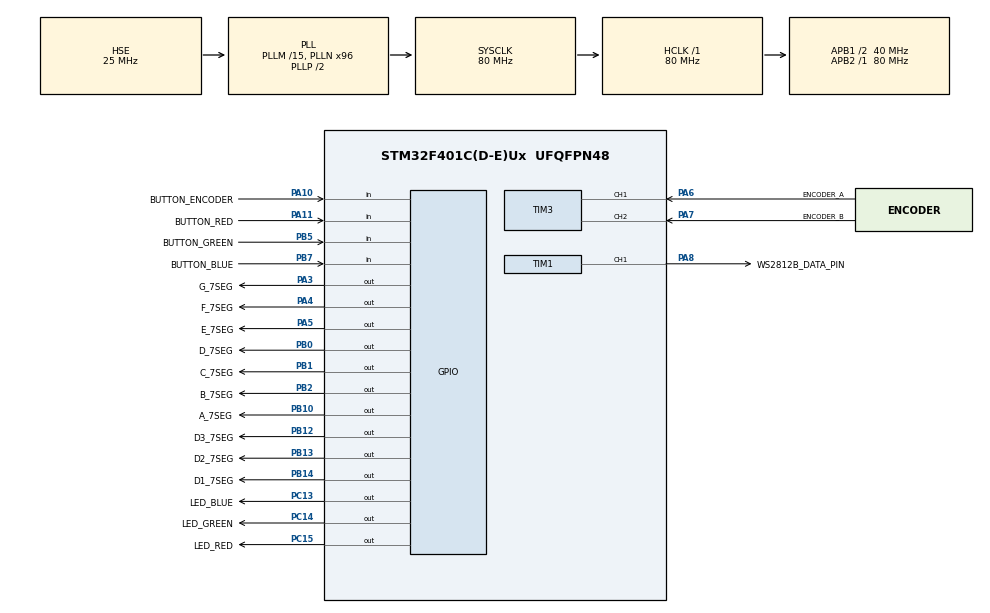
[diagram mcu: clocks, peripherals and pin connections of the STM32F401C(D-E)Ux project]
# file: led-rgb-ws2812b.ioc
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Dma.Request0=TIM1_CH1
Dma.TIM1_CH1.0.Direction=DMA_MEMORY_TO_PERIPH
Dma.TIM1_CH1.0.FIFOMode=DMA_FIFOMODE_DISABLE
Dma.TIM1_CH1.0.Instance=DMA2_Stream1
Dma.TIM1_CH1.0.MemDataAlignment=DMA_MDATAALIGN_HALFWORD
Dma.TIM1_CH1.0.MemInc=DMA_MINC_ENABLE
Dma.TIM1_CH1.0.Mode=DMA_NORMAL
Dma.TIM1_CH1.0.PeriphDataAlignment=DMA_PDATAALIGN_HALFWORD
Dma.TIM1_CH1.0.PeriphInc=DMA_PINC_DISABLE
Dma.TIM1_CH1.0.Priority=DMA_PRIORITY_VERY_HIGH
Mcu.Family=STM32F4
Mcu.Name=STM32F401C(D-E)Ux
Mcu.Package=UFQFPN48
NVIC.DMA2_Stream1_IRQn=true\:0\:0\:false\:false\:true\:false\:true
NVIC.PriorityGroup=NVIC_PRIORITYGROUP_4
PA10.GPIO_Label=BUTTON_ENCODER
PA10.GPIO_PuPd=GPIO_PULLUP
PA10.Signal=GPIO_Input
PA11.GPIO_Label=BUTTON_RED
PA11.GPIO_PuPd=GPIO_PULLUP
PA11.Signal=GPIO_Input
PA13.Mode=Serial_Wire
PA13.Signal=SYS_JTMS-SWDIO
PA14.Mode=Serial_Wire
PA14.Signal=SYS_JTCK-SWCLK
PA3.GPIO_Label=G_7SEG
PA3.GPIO_PuPd=GPIO_PULLDOWN
PA3.Signal=GPIO_Output
PA4.GPIO_Label=F_7SEG
PA4.GPIO_PuPd=GPIO_PULLDOWN
PA4.Signal=GPIO_Output
PA5.GPIO_Label=E_7SEG
PA5.GPIO_PuPd=GPIO_PULLDOWN
PA5.Signal=GPIO_Output
PA6.GPIO_Label=ENCODER_A
PA6.Signal=S_TIM3_CH1
PA7.GPIO_Label=ENCODER_B
PA7.Signal=S_TIM3_CH2
PA8.GPIO_Label=WS2812B_DATA_PIN
PA8.Signal=S_TIM1_CH1
PB0.GPIO_Label=D_7SEG
PB0.GPIO_PuPd=GPIO_PULLDOWN
PB0.Signal=GPIO_Output
PB1.GPIO_Label=C_7SEG
PB1.GPIO_PuPd=GPIO_PULLDOWN
PB1.Signal=GPIO_Output
PB10.GPIO_Label=A_7SEG
PB10.GPIO_PuPd=GPIO_PULLDOWN
PB10.Signal=GPIO_Output
PB12.GPIO_Label=D3_7SEG
PB12.GPIO_PuPd=GPIO_PULLDOWN
PB12.Signal=GPIO_Output
PB13.GPIO_Label=D2_7SEG
PB13.GPIO_PuPd=GPIO_PULLDOWN
PB13.Signal=GPIO_Output
PB14.GPIO_Label=D1_7SEG
PB14.GPIO_PuPd=GPIO_PULLDOWN
PB14.Signal=GPIO_Output
PB2.GPIO_Label=B_7SEG
PB2.GPIO_PuPd=GPIO_PULLDOWN
PB2.Signal=GPIO_Output
PB5.GPIO_Label=BUTTON_GREEN
PB5.GPIO_PuPd=GPIO_PULLUP
PB5.Signal=GPIO_Input
PB7.GPIO_Label=BUTTON_BLUE
PB7.GPIO_PuPd=GPIO_PULLUP
PB7.Signal=GPIO_Input
PC13-ANTI_TAMP.GPIO_Label=LED_BLUE
PC13-ANTI_TAMP.GPIO_PuPd=GPIO_PULLDOWN
PC13-ANTI_TAMP.Signal=GPIO_Output
PC14-OSC32_IN.GPIO_Label=LED_GREEN
PC14-OSC32_IN.GPIO_PuPd=GPIO_PULLDOWN
PC14-OSC32_IN.Signal=GPIO_Output
PC15-OSC32_OUT.GPIO_Label=LED_RED
PC15-OSC32_OUT.GPIO_PuPd=GPIO_PULLDOWN
PC15-OSC32_OUT.Signal=GPIO_Output
PH0\ -\ OSC_IN.Mode=HSE-External-Oscillator
PH0\ -\ OSC_IN.Signal=RCC_OSC_IN
PH1\ -\ OSC_OUT.Mode=HSE-External-Oscillator
PH1\ -\ OSC_OUT.Signal=RCC_OSC_OUT
ProjectManager.HeapSize=0x200
ProjectManager.StackSize=0x400
ProjectManager.TargetToolchain=MDK-ARM V5.32
RCC.48MHZClocksFreq_Value=40000000
RCC.AHBFreq_Value=80000000
RCC.APB1CLKDivider=RCC_HCLK_DIV2
RCC.APB1Freq_Value=40000000
RCC.APB1TimFreq_Value=80000000
RCC.APB2Freq_Value=80000000
RCC.APB2TimFreq_Value=80000000
RCC.CortexFreq_Value=80000000
RCC.HCLKFreq_Value=80000000
RCC.HSE_VALUE=25000000
RCC.HSI_VALUE=16000000
RCC.LSE_VALUE=32768
RCC.PLLM=15
RCC.PLLN=96
RCC.PLLSourceVirtual=RCC_PLLSOURCE_HSE
RCC.SYSCLKFreq_VALUE=80000000
RCC.SYSCLKSource=RCC_SYSCLKSOURCE_PLLCLK
RCC.VCOOutputFreq_Value=160000000
SH.S_TIM1_CH1.0=TIM1_CH1,PWM Generation1 CH1
SH.S_TIM3_CH1.0=TIM3_CH1,Encoder_Interface
SH.S_TIM3_CH2.0=TIM3_CH2,Encoder_Interface
TIM1.Channel-PWM\ Generation1\ CH1=TIM_CHANNEL_1
TIM1.Period=99
TIM3.EncoderMode=TIM_ENCODERMODE_TI1
VP_TIM1_VS_ClockSourceINT.Mode=Internal
board=custom

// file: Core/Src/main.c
/* USER CODE BEGIN Header */
/**
  ******************************************************************************
  * @file           : main.c
  * @brief          : Main program body
  ******************************************************************************
  * @attention
  *
  * Copyright (c) 2022 STMicroelectronics.
  * All rights reserved.
  *
  * This software is licensed under terms that can be found in the LICENSE file
  * in the root directory of this software component.
  * If no LICENSE file comes with this software, it is provided AS-IS.
  *
  ******************************************************************************
  */
/* USER CODE END Header */
#include "main.h"
#include "dma.h"
#include "tim.h"
#include "gpio.h"

/* USER CODE BEGIN Includes */
#include "stdbool.h"
/* USER CODE END Includes */

/* USER CODE BEGIN PV */
volatile uint16_t encoder_pulse_counter;
volatile uint16_t previous_encoder_pulse_counter;

volatile uint16_t pwmData[364];
volatile int green, red, blue;

volatile uint8_t state = 0;
volatile bool fast_flag = false;

extern volatile int16_t lcdvalue;
/* USER CODE END PV */

void SystemClock_Config(void);

/* USER CODE BEGIN 0 */
void send (uint8_t Green, uint8_t Red, uint8_t Blue)
{

	for(int i = 49; i >= 0; i--)
	{
		pwmData[i] = 0;
	}

	uint8_t j = 7;
  for(int i = 50; i <= 57; i++)
	{
		if(Green & (1 << j)) pwmData[i] = 60;
		else pwmData[i] = 30;
		j--;
	}

	j = 7;
	for(int i = 58; i <= 65; i++)
	{
		if(Red & (1 << j)) pwmData[i] = 60;
		else pwmData[i] = 30;
		j--;
	}

	j = 7;
	for(int i = 66; i <= 73; i++)
	{
		if(Blue & (1 << j)) pwmData[i] = 60;
		else pwmData[i] = 30;
		j--;
	}

	for(int i = 74; i <= 313; i++)
	{
		pwmData[i] = pwmData[i - 24];
	}

	for(int i = 314; i <= 363; i++)
	{
		pwmData[i] = 0;
	}

	HAL_TIM_PWM_Start_DMA(&htim1, TIM_CHANNEL_1, (uint32_t *)pwmData, 364);

}

/* USER CODE END 0 */

int main(void)
{

  /* MCU Configuration--------------------------------------------------------*/

  /* Reset of all peripherals, Initializes the Flash interface and the Systick. */
  HAL_Init();

  /* Configure the system clock */
  SystemClock_Config();

  /* Initialize all configured peripherals */
  MX_GPIO_Init();
  MX_DMA_Init();
  MX_TIM3_Init();
  MX_TIM1_Init();
  /* USER CODE BEGIN 2 */

	HAL_TIM_Encoder_Start(&htim3, TIM_CHANNEL_ALL);

	green = 0;
	red = 0;
	blue = 0;

  /* USER CODE END 2 */

  /* Infinite loop */
  while (1)
  {

    /* USER CODE BEGIN 3 */

			if(HAL_GPIO_ReadPin(BUTTON_ENCODER_GPIO_Port, BUTTON_ENCODER_Pin) == GPIO_PIN_RESET)
		{
			fast_flag = !fast_flag;
			HAL_Delay(250);
		}

		if(HAL_GPIO_ReadPin(BUTTON_BLUE_GPIO_Port, BUTTON_BLUE_Pin) == GPIO_PIN_RESET)
		{
			state = 1;
			TIM3->CNT = blue;
			HAL_Delay(250);
		}

		if(HAL_GPIO_ReadPin(BUTTON_GREEN_GPIO_Port, BUTTON_GREEN_Pin) == GPIO_PIN_RESET)
		{
			state = 2;
			TIM3->CNT = green;
			HAL_Delay(250);
		}

		if(HAL_GPIO_ReadPin(BUTTON_RED_GPIO_Port, BUTTON_RED_Pin) == GPIO_PIN_RESET)
		{
			state = 3;
			TIM3->CNT = red;
			HAL_Delay(250);
		}

		lcdvalue = encoder_pulse_counter;

		previous_encoder_pulse_counter = encoder_pulse_counter;
		encoder_pulse_counter = TIM3->CNT;

		if(previous_encoder_pulse_counter != encoder_pulse_counter)
		{
			if(fast_flag)
			{
				if(previous_encoder_pulse_counter > encoder_pulse_counter) encoder_pulse_counter -= 9;
				else encoder_pulse_counter += 9;

				TIM3->CNT = encoder_pulse_counter;
			}
		}

		if(encoder_pulse_counter > 255)
		{
			TIM3->CNT = 0;

			if(previous_encoder_pulse_counter == 0) TIM3->CNT = 255;
		}

		switch(state)
		{
			case 1:
			{
				blue = encoder_pulse_counter;
					HAL_GPIO_WritePin(LED_BLUE_GPIO_Port, LED_BLUE_Pin, GPIO_PIN_SET);
					HAL_GPIO_WritePin(LED_GREEN_GPIO_Port, LED_GREEN_Pin, GPIO_PIN_RESET);
					HAL_GPIO_WritePin(LED_RED_GPIO_Port, LED_RED_Pin, GPIO_PIN_RESET);
				break;
			}

			case 2:
			{
				green = encoder_pulse_counter;
					HAL_GPIO_WritePin(LED_BLUE_GPIO_Port, LED_BLUE_Pin, GPIO_PIN_RESET);
					HAL_GPIO_WritePin(LED_GREEN_GPIO_Port, LED_GREEN_Pin, GPIO_PIN_SET);
					HAL_GPIO_WritePin(LED_RED_GPIO_Port, LED_RED_Pin, GPIO_PIN_RESET);
				break;
			}

			case 3:
			{
				red = encoder_pulse_counter;
					HAL_GPIO_WritePin(LED_BLUE_GPIO_Port, LED_BLUE_Pin, GPIO_PIN_RESET);
					HAL_GPIO_WritePin(LED_GREEN_GPIO_Port, LED_GREEN_Pin, GPIO_PIN_RESET);
					HAL_GPIO_WritePin(LED_RED_GPIO_Port, LED_RED_Pin, GPIO_PIN_SET);
				break;
			}
		}

		send(green, red, blue);

		HAL_Delay(10);

  }
  /* USER CODE END 3 */
}

void SystemClock_Config(void)
{
  RCC_OscInitTypeDef RCC_OscInitStruct = {0};
  RCC_ClkInitTypeDef RCC_ClkInitStruct = {0};

  /** Configure the main internal regulator output voltage
  */
  __HAL_RCC_PWR_CLK_ENABLE();
  __HAL_PWR_VOLTAGESCALING_CONFIG(PWR_REGULATOR_VOLTAGE_SCALE2);
  /** Initializes the RCC Oscillators according to the specified parameters
  * in the RCC_OscInitTypeDef structure.
  */
  RCC_OscInitStruct.OscillatorType = RCC_OSCILLATORTYPE_HSE;
  RCC_OscInitStruct.HSEState = RCC_HSE_ON;
  RCC_OscInitStruct.PLL.PLLState = RCC_PLL_ON;
  RCC_OscInitStruct.PLL.PLLSource = RCC_PLLSOURCE_HSE;
  RCC_OscInitStruct.PLL.PLLM = 15;
  RCC_OscInitStruct.PLL.PLLN = 96;
  RCC_OscInitStruct.PLL.PLLP = RCC_PLLP_DIV2;
  RCC_OscInitStruct.PLL.PLLQ = 4;
  if (HAL_RCC_OscConfig(&RCC_OscInitStruct) != HAL_OK)
  {
    Error_Handler();
  }
  /** Initializes the CPU, AHB and APB buses clocks
  */
  RCC_ClkInitStruct.ClockType = RCC_CLOCKTYPE_HCLK|RCC_CLOCKTYPE_SYSCLK
                              |RCC_CLOCKTYPE_PCLK1|RCC_CLOCKTYPE_PCLK2;
  RCC_ClkInitStruct.SYSCLKSource = RCC_SYSCLKSOURCE_PLLCLK;
  RCC_ClkInitStruct.AHBCLKDivider = RCC_SYSCLK_DIV1;
  RCC_ClkInitStruct.APB1CLKDivider = RCC_HCLK_DIV2;
  RCC_ClkInitStruct.APB2CLKDivider = RCC_HCLK_DIV1;

  if (HAL_RCC_ClockConfig(&RCC_ClkInitStruct, FLASH_LATENCY_2) != HAL_OK)
  {
    Error_Handler();
  }
}

/* USER CODE BEGIN 4 */
void HAL_TIM_PWM_PulseFinishedCallback(TIM_HandleTypeDef *htim)
{
  /* Prevent unused argument(s) compilation warning */
  UNUSED(htim);

	HAL_TIM_PWM_Stop_DMA(&htim1, TIM_CHANNEL_1);
  /* NOTE : This function should not be modified, when the callback is needed,
            the HAL_TIM_PWM_PulseFinishedCallback could be implemented in the user file
   */
}

/* USER CODE END 4 */

void Error_Handler(void)
{
  __disable_irq();
  while (1)
  {
  }
}
